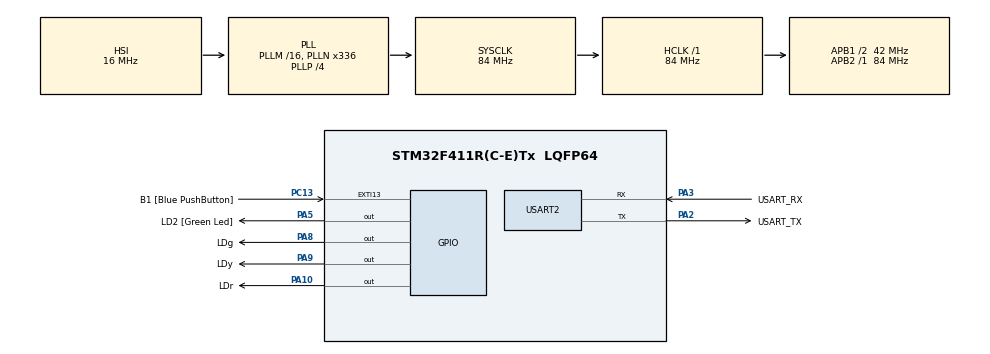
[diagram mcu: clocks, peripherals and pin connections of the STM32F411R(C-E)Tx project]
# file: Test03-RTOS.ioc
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FREERTOS.BinarySemaphores01=myBinarySem01,Dynamic,NULL
FREERTOS.Tasks01=myTask01,0,128,StartTask01,Default,NULL,Dynamic,NULL,NULL;myTask02,-1,128,StartTask02,Default,NULL,Dynamic,NULL,NULL;myTask03,-2,128,StartTask03,Default,NULL,Dynamic,NULL,NULL
FREERTOS.configUSE_NEWLIB_REENTRANT=1
Mcu.Family=STM32F4
Mcu.Name=STM32F411R(C-E)Tx
Mcu.Package=LQFP64
NVIC.EXTI15_10_IRQn=true\:5\:0\:false\:false\:true\:true\:true\:true\:true
NVIC.PriorityGroup=NVIC_PRIORITYGROUP_4
NVIC.TIM1_TRG_COM_TIM11_IRQn=true\:15\:0\:false\:false\:true\:false\:false\:true\:true
NVIC.TimeBase=TIM1_TRG_COM_TIM11_IRQn
NVIC.TimeBaseIP=TIM11
PA10.GPIO_Label=LDr
PA10.Signal=GPIO_Output
PA13.GPIO_Label=TMS
PA13.Mode=Serial_Wire
PA13.Signal=SYS_JTMS-SWDIO
PA14.GPIO_Label=TCK
PA14.Mode=Serial_Wire
PA14.Signal=SYS_JTCK-SWCLK
PA2.GPIO_Label=USART_TX
PA2.Mode=Asynchronous
PA2.Signal=USART2_TX
PA3.GPIO_Label=USART_RX
PA3.Mode=Asynchronous
PA3.Signal=USART2_RX
PA5.GPIO_Label=LD2 [Green Led]
PA5.Signal=GPIO_Output
PA8.GPIO_Label=LDg
PA8.Signal=GPIO_Output
PA9.GPIO_Label=LDy
PA9.Signal=GPIO_Output
PB3.GPIO_Label=SWO
PB3.Signal=SYS_JTDO-SWO
PC13-ANTI_TAMP.GPIO_Label=B1 [Blue PushButton]
PC13-ANTI_TAMP.GPIO_ModeDefaultEXTI=GPIO_MODE_IT_RISING_FALLING
PC13-ANTI_TAMP.Signal=GPXTI13
PC14-OSC32_IN.Mode=LSE-External-Oscillator
PC14-OSC32_IN.Signal=RCC_OSC32_IN
PC15-OSC32_OUT.Mode=LSE-External-Oscillator
PC15-OSC32_OUT.Signal=RCC_OSC32_OUT
PH0\ -\ OSC_IN.Mode=HSE-External-Clock-Source
PH0\ -\ OSC_IN.Signal=RCC_OSC_IN
PH1\ -\ OSC_OUT.Mode=HSE-External-Clock-Source
PH1\ -\ OSC_OUT.Signal=RCC_OSC_OUT
ProjectManager.HeapSize=0x200
ProjectManager.StackSize=0x400
ProjectManager.TargetToolchain=STM32CubeIDE
RCC.48MHZClocksFreq_Value=84000000
RCC.AHBFreq_Value=84000000
RCC.APB1CLKDivider=RCC_HCLK_DIV2
RCC.APB1Freq_Value=42000000
RCC.APB1TimFreq_Value=84000000
RCC.APB2Freq_Value=84000000
RCC.APB2TimFreq_Value=84000000
RCC.CortexFreq_Value=84000000
RCC.FLatency-AdvancedSettings=FLASH_LATENCY_2
RCC.HCLKFreq_Value=84000000
RCC.HSE_VALUE=8000000
RCC.HSI_VALUE=16000000
RCC.PLLN=336
RCC.PLLP=RCC_PLLP_DIV4
RCC.SYSCLKFreq_VALUE=84000000
RCC.SYSCLKSource=RCC_SYSCLKSOURCE_PLLCLK
RCC.VCOOutputFreq_Value=336000000
USART2.VirtualMode=VM_ASYNC
VP_FREERTOS_VS_CMSIS_V1.Mode=CMSIS_V1
VP_SYS_VS_tim11.Mode=TIM11
board=NUCLEO-F411RE

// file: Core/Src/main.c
/* USER CODE BEGIN Header */
/**
  ******************************************************************************
  * @file           : main.c
  * @brief          : Main program body
  ******************************************************************************
  * @attention
  *
  * Copyright (c) 2023 STMicroelectronics.
  * All rights reserved.
  *
  * This software is licensed under terms that can be found in the LICENSE file
  * in the root directory of this software component.
  * If no LICENSE file comes with this software, it is provided AS-IS.
  *
  ******************************************************************************
  */
/* USER CODE END Header */
#include "main.h"
#include "cmsis_os.h"

UART_HandleTypeDef huart2;

osThreadId myTask01Handle;
osThreadId myTask02Handle;
osThreadId myTask03Handle;
osSemaphoreId myBinarySem01Handle;
/* USER CODE BEGIN PV */
#include "../../../myLib/myLib.c"
/* USER CODE END PV */

void SystemClock_Config(void);
static void MX_GPIO_Init(void);
static void MX_USART2_UART_Init(void);
void StartTask01(void const * argument);
void StartTask02(void const * argument);
void StartTask03(void const * argument);

/* USER CODE BEGIN 0 */
void HAL_GPIO_EXTI_Callback(uint16_t GPIO_Pin)
{
	osSemaphoreRelease(myBinarySem01Handle);
}
/* USER CODE END 0 */

int main(void)
{

  /* MCU Configuration--------------------------------------------------------*/

  /* Reset of all peripherals, Initializes the Flash interface and the Systick. */
  HAL_Init();

  /* Configure the system clock */
  SystemClock_Config();

  /* Initialize all configured peripherals */
  MX_GPIO_Init();
  MX_USART2_UART_Init();
  /* USER CODE BEGIN 2 */
  printf("\033[1J\033[1;1HRTOS Test Program Started...\r\n");
  printf("Press B1 Button to release Semaphore...\r\n");
  /* USER CODE END 2 */

  /* Create the semaphores(s) */
  /* definition and creation of myBinarySem01 */
  osSemaphoreDef(myBinarySem01);
  myBinarySem01Handle = osSemaphoreCreate(osSemaphore(myBinarySem01), 1);

  /* Create the thread(s) */
  /* definition and creation of myTask01 */
  osThreadDef(myTask01, StartTask01, osPriorityNormal, 0, 128);
  myTask01Handle = osThreadCreate(osThread(myTask01), NULL);

  /* definition and creation of myTask02 */
  osThreadDef(myTask02, StartTask02, osPriorityBelowNormal, 0, 128);
  myTask02Handle = osThreadCreate(osThread(myTask02), NULL);

  /* definition and creation of myTask03 */
  osThreadDef(myTask03, StartTask03, osPriorityLow, 0, 128);
  myTask03Handle = osThreadCreate(osThread(myTask03), NULL);

  /* USER CODE BEGIN RTOS_THREADS */
  /* add threads, ... */
  while(osSemaphoreWait(myBinarySem01Handle, 0)== osOK);
  /* USER CODE END RTOS_THREADS */

  /* Start scheduler */
  osKernelStart();

  /* We should never get here as control is now taken by the scheduler */
  /* Infinite loop */
  /* USER CODE BEGIN WHILE */
  int n = 0;
  while (1)
  {
    /* USER CODE END WHILE */

    /* USER CODE BEGIN 3 */
	  printf("in Main procedure...%d\r\n", n++);
	  HAL_GPIO_TogglePin(LDr_GPIO_Port, LDr_Pin);
	  HAL_GPIO_TogglePin(LDg_GPIO_Port, LDg_Pin);
	  HAL_GPIO_TogglePin(LDy_GPIO_Port, LDy_Pin);
	  HAL_Delay(1000);
  }
  /* USER CODE END 3 */
}

void SystemClock_Config(void)
{
  RCC_OscInitTypeDef RCC_OscInitStruct = {0};
  RCC_ClkInitTypeDef RCC_ClkInitStruct = {0};

  /** Configure the main internal regulator output voltage
  */
  __HAL_RCC_PWR_CLK_ENABLE();
  __HAL_PWR_VOLTAGESCALING_CONFIG(PWR_REGULATOR_VOLTAGE_SCALE1);

  /** Initializes the RCC Oscillators according to the specified parameters
  * in the RCC_OscInitTypeDef structure.
  */
  RCC_OscInitStruct.OscillatorType = RCC_OSCILLATORTYPE_HSI;
  RCC_OscInitStruct.HSIState = RCC_HSI_ON;
  RCC_OscInitStruct.HSICalibrationValue = RCC_HSICALIBRATION_DEFAULT;
  RCC_OscInitStruct.PLL.PLLState = RCC_PLL_ON;
  RCC_OscInitStruct.PLL.PLLSource = RCC_PLLSOURCE_HSI;
  RCC_OscInitStruct.PLL.PLLM = 16;
  RCC_OscInitStruct.PLL.PLLN = 336;
  RCC_OscInitStruct.PLL.PLLP = RCC_PLLP_DIV4;
  RCC_OscInitStruct.PLL.PLLQ = 4;
  if (HAL_RCC_OscConfig(&RCC_OscInitStruct) != HAL_OK)
  {
    Error_Handler();
  }

  /** Initializes the CPU, AHB and APB buses clocks
  */
  RCC_ClkInitStruct.ClockType = RCC_CLOCKTYPE_HCLK|RCC_CLOCKTYPE_SYSCLK
                              |RCC_CLOCKTYPE_PCLK1|RCC_CLOCKTYPE_PCLK2;
  RCC_ClkInitStruct.SYSCLKSource = RCC_SYSCLKSOURCE_PLLCLK;
  RCC_ClkInitStruct.AHBCLKDivider = RCC_SYSCLK_DIV1;
  RCC_ClkInitStruct.APB1CLKDivider = RCC_HCLK_DIV2;
  RCC_ClkInitStruct.APB2CLKDivider = RCC_HCLK_DIV1;

  if (HAL_RCC_ClockConfig(&RCC_ClkInitStruct, FLASH_LATENCY_2) != HAL_OK)
  {
    Error_Handler();
  }
}

static void MX_USART2_UART_Init(void)
{

  huart2.Instance = USART2;
  huart2.Init.BaudRate = 115200;
  huart2.Init.WordLength = UART_WORDLENGTH_8B;
  huart2.Init.StopBits = UART_STOPBITS_1;
  huart2.Init.Parity = UART_PARITY_NONE;
  huart2.Init.Mode = UART_MODE_TX_RX;
  huart2.Init.HwFlowCtl = UART_HWCONTROL_NONE;
  huart2.Init.OverSampling = UART_OVERSAMPLING_16;
  if (HAL_UART_Init(&huart2) != HAL_OK)
  {
    Error_Handler();
  }

}

static void MX_GPIO_Init(void)
{
  GPIO_InitTypeDef GPIO_InitStruct = {0};

  /* GPIO Ports Clock Enable */
  __HAL_RCC_GPIOC_CLK_ENABLE();
  __HAL_RCC_GPIOH_CLK_ENABLE();
  __HAL_RCC_GPIOA_CLK_ENABLE();
  __HAL_RCC_GPIOB_CLK_ENABLE();

  /*Configure GPIO pin Output Level */
  HAL_GPIO_WritePin(GPIOA, LD2_Pin|LDg_Pin|LDy_Pin|LDr_Pin, GPIO_PIN_RESET);

  /*Configure GPIO pin : B1_Pin */
  GPIO_InitStruct.Pin = B1_Pin;
  GPIO_InitStruct.Mode = GPIO_MODE_IT_RISING_FALLING;
  GPIO_InitStruct.Pull = GPIO_NOPULL;
  HAL_GPIO_Init(B1_GPIO_Port, &GPIO_InitStruct);

  /*Configure GPIO pins : LD2_Pin LDg_Pin LDy_Pin LDr_Pin */
  GPIO_InitStruct.Pin = LD2_Pin|LDg_Pin|LDy_Pin|LDr_Pin;
  GPIO_InitStruct.Mode = GPIO_MODE_OUTPUT_PP;
  GPIO_InitStruct.Pull = GPIO_NOPULL;
  GPIO_InitStruct.Speed = GPIO_SPEED_FREQ_LOW;
  HAL_GPIO_Init(GPIOA, &GPIO_InitStruct);

  /* EXTI interrupt init*/
  HAL_NVIC_SetPriority(EXTI15_10_IRQn, 5, 0);
  HAL_NVIC_EnableIRQ(EXTI15_10_IRQn);

}

void StartTask01(void const * argument)
{
  /* USER CODE BEGIN 5 */
  /* Infinite loop */
  int n = 0;
	for(;;)
  {
	  if(osSemaphoreWait(myBinarySem01Handle, 0)== osOK)
	  {
		  printf("\033[3;1Hin default Task...%d   \r\n", n++);
		  //HAL_GPIO_TogglePin(LDr_GPIO_Port, LDr_Pin);
		  HAL_GPIO_WritePin(LDr_GPIO_Port, LDr_Pin, 1);
		  HAL_Delay(100);
		  HAL_GPIO_WritePin(LDr_GPIO_Port, LDr_Pin, 0);
		  HAL_Delay(100);
		  osSemaphoreRelease(myBinarySem01Handle);
	  }
	  osDelay(1);
	  //HAL_Delay(100);

  }
  /* USER CODE END 5 */
}

void StartTask02(void const * argument)
{
  /* USER CODE BEGIN StartTask02 */
  /* Infinite loop */
  int n = 0;
	for(;;)
  {
	if(osSemaphoreWait(myBinarySem01Handle, 0)== osOK)
	  {
		  printf("\033[6;1Hin Task 02...%d   \r\n", n++);
		  //HAL_GPIO_TogglePin(LDg_GPIO_Port, LDg_Pin);
		  HAL_GPIO_WritePin(LDg_GPIO_Port, LDg_Pin, 1);
		  HAL_Delay(100);
		  HAL_GPIO_WritePin(LDg_GPIO_Port, LDg_Pin, 0);
		  HAL_Delay(100);
		  osSemaphoreRelease(myBinarySem01Handle);
	  }
    osDelay(1);

  }
  /* USER CODE END StartTask02 */
}

void StartTask03(void const * argument)
{
  /* USER CODE BEGIN StartTask03 */
  /* Infinite loop */
  int n = 0;
	for(;;)
  {
	if(osSemaphoreWait(myBinarySem01Handle, 0)== osOK)
	  {
		  printf("\033[9;1Hin Task 03...%d   \r\n", n++);
		  //HAL_GPIO_TogglePin(LDy_GPIO_Port, LDy_Pin);
		  HAL_GPIO_WritePin(LDy_GPIO_Port, LDy_Pin, 1);
		  HAL_Delay(100);
		  HAL_GPIO_WritePin(LDy_GPIO_Port, LDy_Pin, 0);
		  HAL_Delay(100);
		  osSemaphoreRelease(myBinarySem01Handle);
	  }
    osDelay(1);

  }
  /* USER CODE END StartTask03 */
}

void HAL_TIM_PeriodElapsedCallback(TIM_HandleTypeDef *htim)
{
  if (htim->Instance == TIM11) {
    HAL_IncTick();
  }
}

void Error_Handler(void)
{
  __disable_irq();
  while (1)
  {
  }
}
